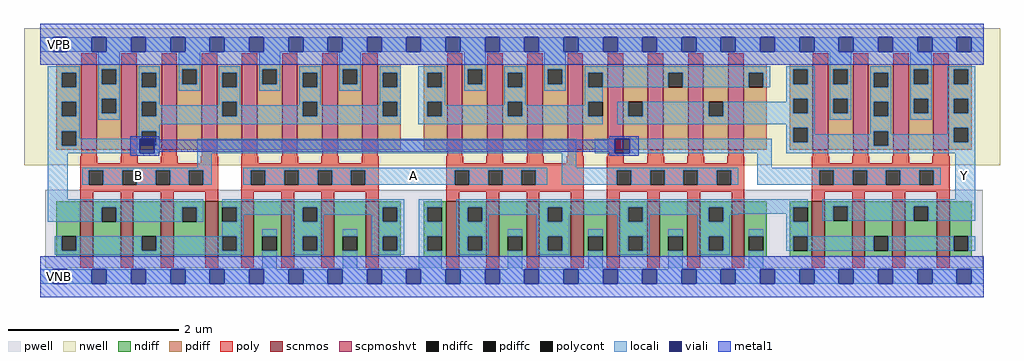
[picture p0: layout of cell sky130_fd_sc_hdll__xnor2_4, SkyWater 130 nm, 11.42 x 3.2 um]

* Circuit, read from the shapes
.subckt sky130_fd_sc_hdll__xnor2_4 A B VGND VNB VPB VPWR Y
XM1 n1 B n2 VNB sky130_fd_pr__nfet_01v8 w=0.65 l=0.15 m=4
XM2 VGND A n2 VNB sky130_fd_pr__nfet_01v8 w=0.65 l=0.15 m=4
XM3 n3 A VGND VNB sky130_fd_pr__nfet_01v8 w=0.65 l=0.15 m=4
XM4 n3 B VGND VNB sky130_fd_pr__nfet_01v8 w=0.65 l=0.15 m=4
XM5 Y n1 n3 VNB sky130_fd_pr__nfet_01v8 w=0.65 l=0.15 m=4
XM6 VPWR B n1 VPB sky130_fd_pr__pfet_01v8_hvt w=1 l=0.18 m=4
XM7 VPWR A n1 VPB sky130_fd_pr__pfet_01v8_hvt w=1 l=0.18 m=4
XM8 VPWR A n4 VPB sky130_fd_pr__pfet_01v8_hvt w=1 l=0.18 m=4
XM9 Y B n4 VPB sky130_fd_pr__pfet_01v8_hvt w=1 l=0.18 m=4
XM10 VPWR n1 Y VPB sky130_fd_pr__pfet_01v8_hvt w=1 l=0.18 m=4
.ends

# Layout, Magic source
magic
tech sky130A
magscale 1 2
<< nwell >>
rect -38 261 2246 582
<< pwell >>
rect 12 21 2206 203
rect 29 -17 63 21
<< scnmos >>
rect 94 47 124 177
rect 188 47 218 177
rect 282 47 312 177
rect 386 47 416 177
rect 470 47 500 177
rect 564 47 594 177
rect 658 47 688 177
rect 762 47 792 177
rect 950 47 980 177
rect 1044 47 1074 177
rect 1138 47 1168 177
rect 1242 47 1272 177
rect 1326 47 1356 177
rect 1420 47 1450 177
rect 1514 47 1544 177
rect 1618 47 1648 177
rect 1806 47 1836 177
rect 1900 47 1930 177
rect 1994 47 2024 177
rect 2098 47 2128 177
<< scpmoshvt >>
rect 96 297 132 497
rect 190 297 226 497
rect 284 297 320 497
rect 378 297 414 497
rect 472 297 508 497
rect 566 297 602 497
rect 660 297 696 497
rect 754 297 790 497
rect 952 297 988 497
rect 1046 297 1082 497
rect 1140 297 1176 497
rect 1234 297 1270 497
rect 1328 297 1364 497
rect 1422 297 1458 497
rect 1516 297 1552 497
rect 1610 297 1646 497
rect 1808 297 1844 497
rect 1902 297 1938 497
rect 1996 297 2032 497
rect 2090 297 2126 497
<< ndiff >>
rect 38 95 94 177
rect 38 61 50 95
rect 84 61 94 95
rect 38 47 94 61
rect 124 163 188 177
rect 124 129 144 163
rect 178 129 188 163
rect 124 47 188 129
rect 218 95 282 177
rect 218 61 238 95
rect 272 61 282 95
rect 218 47 282 61
rect 312 163 386 177
rect 312 129 332 163
rect 366 129 386 163
rect 312 47 386 129
rect 416 163 470 177
rect 416 129 426 163
rect 460 129 470 163
rect 416 95 470 129
rect 416 61 426 95
rect 460 61 470 95
rect 416 47 470 61
rect 500 95 564 177
rect 500 61 520 95
rect 554 61 564 95
rect 500 47 564 61
rect 594 163 658 177
rect 594 129 614 163
rect 648 129 658 163
rect 594 95 658 129
rect 594 61 614 95
rect 648 61 658 95
rect 594 47 658 61
rect 688 95 762 177
rect 688 61 708 95
rect 742 61 762 95
rect 688 47 762 61
rect 792 163 844 177
rect 792 129 802 163
rect 836 129 844 163
rect 792 95 844 129
rect 792 61 802 95
rect 836 61 844 95
rect 792 47 844 61
rect 898 163 950 177
rect 898 129 906 163
rect 940 129 950 163
rect 898 95 950 129
rect 898 61 906 95
rect 940 61 950 95
rect 898 47 950 61
rect 980 163 1044 177
rect 980 129 1000 163
rect 1034 129 1044 163
rect 980 95 1044 129
rect 980 61 1000 95
rect 1034 61 1044 95
rect 980 47 1044 61
rect 1074 95 1138 177
rect 1074 61 1094 95
rect 1128 61 1138 95
rect 1074 47 1138 61
rect 1168 163 1242 177
rect 1168 129 1188 163
rect 1222 129 1242 163
rect 1168 95 1242 129
rect 1168 61 1188 95
rect 1222 61 1242 95
rect 1168 47 1242 61
rect 1272 95 1326 177
rect 1272 61 1282 95
rect 1316 61 1326 95
rect 1272 47 1326 61
rect 1356 163 1420 177
rect 1356 129 1376 163
rect 1410 129 1420 163
rect 1356 95 1420 129
rect 1356 61 1376 95
rect 1410 61 1420 95
rect 1356 47 1420 61
rect 1450 95 1514 177
rect 1450 61 1470 95
rect 1504 61 1514 95
rect 1450 47 1514 61
rect 1544 163 1618 177
rect 1544 129 1564 163
rect 1598 129 1618 163
rect 1544 95 1618 129
rect 1544 61 1564 95
rect 1598 61 1618 95
rect 1544 47 1618 61
rect 1648 95 1700 177
rect 1648 61 1658 95
rect 1692 61 1700 95
rect 1648 47 1700 61
rect 1754 163 1806 177
rect 1754 129 1762 163
rect 1796 129 1806 163
rect 1754 95 1806 129
rect 1754 61 1762 95
rect 1796 61 1806 95
rect 1754 47 1806 61
rect 1836 165 1900 177
rect 1836 131 1856 165
rect 1890 131 1900 165
rect 1836 47 1900 131
rect 1930 95 1994 177
rect 1930 61 1950 95
rect 1984 61 1994 95
rect 1930 47 1994 61
rect 2024 165 2098 177
rect 2024 131 2044 165
rect 2078 131 2098 165
rect 2024 47 2098 131
rect 2128 95 2180 177
rect 2128 61 2138 95
rect 2172 61 2180 95
rect 2128 47 2180 61
<< pdiff >>
rect 38 477 96 497
rect 38 443 50 477
rect 84 443 96 477
rect 38 409 96 443
rect 38 375 50 409
rect 84 375 96 409
rect 38 341 96 375
rect 38 307 50 341
rect 84 307 96 341
rect 38 297 96 307
rect 132 485 190 497
rect 132 451 144 485
rect 178 451 190 485
rect 132 417 190 451
rect 132 383 144 417
rect 178 383 190 417
rect 132 297 190 383
rect 226 477 284 497
rect 226 443 238 477
rect 272 443 284 477
rect 226 409 284 443
rect 226 375 238 409
rect 272 375 284 409
rect 226 341 284 375
rect 226 307 238 341
rect 272 307 284 341
rect 226 297 284 307
rect 320 485 378 497
rect 320 451 332 485
rect 366 451 378 485
rect 320 297 378 451
rect 414 477 472 497
rect 414 443 426 477
rect 460 443 472 477
rect 414 409 472 443
rect 414 375 426 409
rect 460 375 472 409
rect 414 297 472 375
rect 508 485 566 497
rect 508 451 520 485
rect 554 451 566 485
rect 508 297 566 451
rect 602 477 660 497
rect 602 443 614 477
rect 648 443 660 477
rect 602 409 660 443
rect 602 375 614 409
rect 648 375 660 409
rect 602 297 660 375
rect 696 485 754 497
rect 696 451 708 485
rect 742 451 754 485
rect 696 297 754 451
rect 790 477 844 497
rect 790 443 802 477
rect 836 443 844 477
rect 790 409 844 443
rect 790 375 802 409
rect 836 375 844 409
rect 790 297 844 375
rect 898 477 952 497
rect 898 443 906 477
rect 940 443 952 477
rect 898 409 952 443
rect 898 375 906 409
rect 940 375 952 409
rect 898 297 952 375
rect 988 485 1046 497
rect 988 451 1000 485
rect 1034 451 1046 485
rect 988 297 1046 451
rect 1082 477 1140 497
rect 1082 443 1094 477
rect 1128 443 1140 477
rect 1082 409 1140 443
rect 1082 375 1094 409
rect 1128 375 1140 409
rect 1082 297 1140 375
rect 1176 485 1234 497
rect 1176 451 1188 485
rect 1222 451 1234 485
rect 1176 297 1234 451
rect 1270 477 1328 497
rect 1270 443 1282 477
rect 1316 443 1328 477
rect 1270 409 1328 443
rect 1270 375 1282 409
rect 1316 375 1328 409
rect 1270 297 1328 375
rect 1364 409 1422 497
rect 1364 375 1376 409
rect 1410 375 1422 409
rect 1364 297 1422 375
rect 1458 477 1516 497
rect 1458 443 1470 477
rect 1504 443 1516 477
rect 1458 297 1516 443
rect 1552 409 1610 497
rect 1552 375 1564 409
rect 1598 375 1610 409
rect 1552 297 1610 375
rect 1646 477 1700 497
rect 1646 443 1658 477
rect 1692 443 1700 477
rect 1646 297 1700 443
rect 1754 485 1808 497
rect 1754 451 1762 485
rect 1796 451 1808 485
rect 1754 417 1808 451
rect 1754 383 1762 417
rect 1796 383 1808 417
rect 1754 349 1808 383
rect 1754 315 1762 349
rect 1796 315 1808 349
rect 1754 297 1808 315
rect 1844 485 1902 497
rect 1844 451 1856 485
rect 1890 451 1902 485
rect 1844 417 1902 451
rect 1844 383 1856 417
rect 1890 383 1902 417
rect 1844 297 1902 383
rect 1938 477 1996 497
rect 1938 443 1950 477
rect 1984 443 1996 477
rect 1938 409 1996 443
rect 1938 375 1950 409
rect 1984 375 1996 409
rect 1938 341 1996 375
rect 1938 307 1950 341
rect 1984 307 1996 341
rect 1938 297 1996 307
rect 2032 485 2090 497
rect 2032 451 2044 485
rect 2078 451 2090 485
rect 2032 417 2090 451
rect 2032 383 2044 417
rect 2078 383 2090 417
rect 2032 297 2090 383
rect 2126 485 2180 497
rect 2126 451 2138 485
rect 2172 451 2180 485
rect 2126 417 2180 451
rect 2126 383 2138 417
rect 2172 383 2180 417
rect 2126 349 2180 383
rect 2126 315 2138 349
rect 2172 315 2180 349
rect 2126 297 2180 315
<< ndiffc >>
rect 50 61 84 95
rect 144 129 178 163
rect 238 61 272 95
rect 332 129 366 163
rect 426 129 460 163
rect 426 61 460 95
rect 520 61 554 95
rect 614 129 648 163
rect 614 61 648 95
rect 708 61 742 95
rect 802 129 836 163
rect 802 61 836 95
rect 906 129 940 163
rect 906 61 940 95
rect 1000 129 1034 163
rect 1000 61 1034 95
rect 1094 61 1128 95
rect 1188 129 1222 163
rect 1188 61 1222 95
rect 1282 61 1316 95
rect 1376 129 1410 163
rect 1376 61 1410 95
rect 1470 61 1504 95
rect 1564 129 1598 163
rect 1564 61 1598 95
rect 1658 61 1692 95
rect 1762 129 1796 163
rect 1762 61 1796 95
rect 1856 131 1890 165
rect 1950 61 1984 95
rect 2044 131 2078 165
rect 2138 61 2172 95
<< pdiffc >>
rect 50 443 84 477
rect 50 375 84 409
rect 50 307 84 341
rect 144 451 178 485
rect 144 383 178 417
rect 238 443 272 477
rect 238 375 272 409
rect 238 307 272 341
rect 332 451 366 485
rect 426 443 460 477
rect 426 375 460 409
rect 520 451 554 485
rect 614 443 648 477
rect 614 375 648 409
rect 708 451 742 485
rect 802 443 836 477
rect 802 375 836 409
rect 906 443 940 477
rect 906 375 940 409
rect 1000 451 1034 485
rect 1094 443 1128 477
rect 1094 375 1128 409
rect 1188 451 1222 485
rect 1282 443 1316 477
rect 1282 375 1316 409
rect 1376 375 1410 409
rect 1470 443 1504 477
rect 1564 375 1598 409
rect 1658 443 1692 477
rect 1762 451 1796 485
rect 1762 383 1796 417
rect 1762 315 1796 349
rect 1856 451 1890 485
rect 1856 383 1890 417
rect 1950 443 1984 477
rect 1950 375 1984 409
rect 1950 307 1984 341
rect 2044 451 2078 485
rect 2044 383 2078 417
rect 2138 451 2172 485
rect 2138 383 2172 417
rect 2138 315 2172 349
<< poly >>
rect 96 497 132 523
rect 190 497 226 523
rect 284 497 320 523
rect 378 497 414 523
rect 472 497 508 523
rect 566 497 602 523
rect 660 497 696 523
rect 754 497 790 523
rect 952 497 988 523
rect 1046 497 1082 523
rect 1140 497 1176 523
rect 1234 497 1270 523
rect 1328 497 1364 523
rect 1422 497 1458 523
rect 1516 497 1552 523
rect 1610 497 1646 523
rect 1808 497 1844 523
rect 1902 497 1938 523
rect 1996 497 2032 523
rect 2090 497 2126 523
rect 96 282 132 297
rect 190 282 226 297
rect 284 282 320 297
rect 378 282 414 297
rect 472 282 508 297
rect 566 282 602 297
rect 660 282 696 297
rect 754 282 790 297
rect 952 282 988 297
rect 1046 282 1082 297
rect 1140 282 1176 297
rect 1234 282 1270 297
rect 1328 282 1364 297
rect 1422 282 1458 297
rect 1516 282 1552 297
rect 1610 282 1646 297
rect 1808 282 1844 297
rect 1902 282 1938 297
rect 1996 282 2032 297
rect 2090 282 2126 297
rect 94 265 134 282
rect 188 265 228 282
rect 282 265 322 282
rect 376 265 416 282
rect 94 249 416 265
rect 94 215 114 249
rect 148 215 192 249
rect 226 215 270 249
rect 304 215 348 249
rect 382 215 416 249
rect 94 199 416 215
rect 94 177 124 199
rect 188 177 218 199
rect 282 177 312 199
rect 386 177 416 199
rect 470 265 510 282
rect 564 265 604 282
rect 658 265 698 282
rect 752 265 792 282
rect 470 249 792 265
rect 470 215 493 249
rect 527 215 571 249
rect 605 215 649 249
rect 683 215 727 249
rect 761 215 792 249
rect 470 199 792 215
rect 470 177 500 199
rect 564 177 594 199
rect 658 177 688 199
rect 762 177 792 199
rect 950 265 990 282
rect 1044 265 1084 282
rect 1138 265 1178 282
rect 1232 265 1272 282
rect 950 249 1272 265
rect 950 215 970 249
rect 1004 215 1048 249
rect 1082 215 1126 249
rect 1160 215 1272 249
rect 950 199 1272 215
rect 950 177 980 199
rect 1044 177 1074 199
rect 1138 177 1168 199
rect 1242 177 1272 199
rect 1326 265 1366 282
rect 1420 265 1460 282
rect 1514 265 1554 282
rect 1608 265 1648 282
rect 1326 249 1648 265
rect 1326 215 1349 249
rect 1383 215 1427 249
rect 1461 215 1505 249
rect 1539 215 1583 249
rect 1617 215 1648 249
rect 1326 199 1648 215
rect 1326 177 1356 199
rect 1420 177 1450 199
rect 1514 177 1544 199
rect 1618 177 1648 199
rect 1806 265 1846 282
rect 1900 265 1940 282
rect 1994 265 2034 282
rect 2088 265 2128 282
rect 1806 249 2128 265
rect 1806 215 1823 249
rect 1857 215 1901 249
rect 1935 215 1979 249
rect 2013 215 2057 249
rect 2091 215 2128 249
rect 1806 199 2128 215
rect 1806 177 1836 199
rect 1900 177 1930 199
rect 1994 177 2024 199
rect 2098 177 2128 199
rect 94 21 124 47
rect 188 21 218 47
rect 282 21 312 47
rect 386 21 416 47
rect 470 21 500 47
rect 564 21 594 47
rect 658 21 688 47
rect 762 21 792 47
rect 950 21 980 47
rect 1044 21 1074 47
rect 1138 21 1168 47
rect 1242 21 1272 47
rect 1326 21 1356 47
rect 1420 21 1450 47
rect 1514 21 1544 47
rect 1618 21 1648 47
rect 1806 21 1836 47
rect 1900 21 1930 47
rect 1994 21 2024 47
rect 2098 21 2128 47
<< polycont >>
rect 114 215 148 249
rect 192 215 226 249
rect 270 215 304 249
rect 348 215 382 249
rect 493 215 527 249
rect 571 215 605 249
rect 649 215 683 249
rect 727 215 761 249
rect 970 215 1004 249
rect 1048 215 1082 249
rect 1126 215 1160 249
rect 1349 215 1383 249
rect 1427 215 1461 249
rect 1505 215 1539 249
rect 1583 215 1617 249
rect 1823 215 1857 249
rect 1901 215 1935 249
rect 1979 215 2013 249
rect 2057 215 2091 249
<< locali >>
rect 0 527 29 561
rect 63 527 121 561
rect 155 527 213 561
rect 247 527 305 561
rect 339 527 397 561
rect 431 527 489 561
rect 523 527 581 561
rect 615 527 673 561
rect 707 527 765 561
rect 799 527 857 561
rect 891 527 949 561
rect 983 527 1041 561
rect 1075 527 1133 561
rect 1167 527 1225 561
rect 1259 527 1317 561
rect 1351 527 1409 561
rect 1443 527 1501 561
rect 1535 527 1593 561
rect 1627 527 1685 561
rect 1719 527 1777 561
rect 1811 527 1869 561
rect 1903 527 1961 561
rect 1995 527 2053 561
rect 2087 527 2145 561
rect 2179 527 2208 561
rect 17 477 92 493
rect 17 443 50 477
rect 84 443 92 477
rect 17 409 92 443
rect 17 375 50 409
rect 84 375 92 409
rect 17 341 92 375
rect 136 485 186 527
rect 136 451 144 485
rect 178 451 186 485
rect 136 417 186 451
rect 136 383 144 417
rect 178 383 186 417
rect 136 367 186 383
rect 230 477 280 493
rect 230 443 238 477
rect 272 443 280 477
rect 230 409 280 443
rect 324 485 374 527
rect 324 451 332 485
rect 366 451 374 485
rect 324 435 374 451
rect 418 477 468 493
rect 418 443 426 477
rect 460 443 468 477
rect 230 375 238 409
rect 272 401 280 409
rect 418 409 468 443
rect 512 485 562 527
rect 512 451 520 485
rect 554 451 562 485
rect 512 435 562 451
rect 606 477 656 493
rect 606 443 614 477
rect 648 443 656 477
rect 418 401 426 409
rect 272 375 426 401
rect 460 401 468 409
rect 606 409 656 443
rect 700 485 750 527
rect 700 451 708 485
rect 742 451 750 485
rect 700 435 750 451
rect 794 477 844 493
rect 794 443 802 477
rect 836 443 844 477
rect 606 401 614 409
rect 460 375 614 401
rect 648 401 656 409
rect 794 409 844 443
rect 794 401 802 409
rect 648 375 802 401
rect 836 375 844 409
rect 17 307 50 341
rect 84 323 92 341
rect 230 357 844 375
rect 885 477 948 493
rect 885 443 906 477
rect 940 443 948 477
rect 885 409 948 443
rect 992 485 1042 527
rect 992 451 1000 485
rect 1034 451 1042 485
rect 992 435 1042 451
rect 1086 477 1136 493
rect 1086 443 1094 477
rect 1128 443 1136 477
rect 885 375 906 409
rect 940 401 948 409
rect 1086 409 1136 443
rect 1180 485 1230 527
rect 1180 451 1188 485
rect 1222 451 1230 485
rect 1180 435 1230 451
rect 1274 477 1708 493
rect 1274 443 1282 477
rect 1316 443 1470 477
rect 1504 443 1658 477
rect 1692 443 1708 477
rect 1746 485 1812 493
rect 1746 451 1762 485
rect 1796 451 1812 485
rect 1086 401 1094 409
rect 940 375 1094 401
rect 1128 401 1136 409
rect 1274 409 1316 443
rect 1746 417 1812 451
rect 1746 409 1762 417
rect 1274 401 1282 409
rect 1128 375 1282 401
rect 885 357 1316 375
rect 1350 375 1376 409
rect 1410 375 1564 409
rect 1598 383 1762 409
rect 1796 383 1812 417
rect 1598 375 1812 383
rect 1350 357 1812 375
rect 1848 485 1898 527
rect 1848 451 1856 485
rect 1890 451 1898 485
rect 1848 417 1898 451
rect 1848 383 1856 417
rect 1890 383 1898 417
rect 1848 367 1898 383
rect 1942 477 1992 493
rect 1942 443 1950 477
rect 1984 443 1992 477
rect 1942 409 1992 443
rect 1942 375 1950 409
rect 1984 375 1992 409
rect 230 341 280 357
rect 230 323 238 341
rect 84 307 233 323
rect 272 307 280 341
rect 1746 349 1812 357
rect 17 289 233 307
rect 267 289 280 307
rect 367 289 1254 323
rect 1298 289 1345 323
rect 1379 289 1712 323
rect 1746 315 1762 349
rect 1796 333 1812 349
rect 1942 341 1992 375
rect 2036 485 2086 527
rect 2036 451 2044 485
rect 2078 451 2086 485
rect 2036 417 2086 451
rect 2036 383 2044 417
rect 2078 383 2086 417
rect 2036 367 2086 383
rect 2122 485 2188 493
rect 2122 451 2138 485
rect 2172 451 2188 485
rect 2122 417 2188 451
rect 2122 383 2138 417
rect 2172 383 2188 417
rect 1942 333 1950 341
rect 1796 315 1950 333
rect 1746 307 1950 315
rect 1984 333 1992 341
rect 2122 349 2188 383
rect 2122 333 2138 349
rect 1984 315 2138 333
rect 2172 315 2188 349
rect 1984 307 2188 315
rect 1746 289 2188 307
rect 17 181 64 289
rect 367 255 401 289
rect 1220 255 1254 289
rect 1678 255 1712 289
rect 98 249 401 255
rect 98 215 114 249
rect 148 215 192 249
rect 226 215 270 249
rect 304 215 348 249
rect 382 215 401 249
rect 475 249 1186 255
rect 475 215 493 249
rect 527 215 571 249
rect 605 215 649 249
rect 683 215 727 249
rect 761 215 970 249
rect 1004 215 1048 249
rect 1082 215 1126 249
rect 1160 215 1186 249
rect 1220 249 1634 255
rect 1220 215 1349 249
rect 1383 215 1427 249
rect 1461 215 1505 249
rect 1539 215 1583 249
rect 1617 215 1634 249
rect 1678 249 2107 255
rect 1678 215 1823 249
rect 1857 215 1901 249
rect 1935 215 1979 249
rect 2013 215 2057 249
rect 2091 215 2107 249
rect 2141 181 2188 289
rect 17 163 382 181
rect 17 129 144 163
rect 178 129 332 163
rect 366 129 382 163
rect 426 163 852 181
rect 460 145 614 163
rect 460 129 476 145
rect 426 95 476 129
rect 588 129 614 145
rect 648 145 802 163
rect 648 129 664 145
rect 34 61 50 95
rect 84 61 238 95
rect 272 61 426 95
rect 460 61 476 95
rect 34 51 476 61
rect 520 95 554 111
rect 520 17 554 61
rect 588 95 664 129
rect 776 129 802 145
rect 836 129 852 163
rect 588 61 614 95
rect 648 61 664 95
rect 588 51 664 61
rect 708 95 742 111
rect 708 17 742 61
rect 776 95 852 129
rect 776 61 802 95
rect 836 61 852 95
rect 776 51 852 61
rect 886 163 940 181
rect 886 129 906 163
rect 886 95 940 129
rect 886 61 906 95
rect 886 17 940 61
rect 974 163 1796 181
rect 974 129 1000 163
rect 1034 145 1188 163
rect 1034 129 1050 145
rect 974 95 1050 129
rect 1162 129 1188 145
rect 1222 145 1376 163
rect 1222 129 1238 145
rect 974 61 1000 95
rect 1034 61 1050 95
rect 974 51 1050 61
rect 1094 95 1128 111
rect 1094 17 1128 61
rect 1162 95 1238 129
rect 1350 129 1376 145
rect 1410 145 1564 163
rect 1410 129 1426 145
rect 1162 61 1188 95
rect 1222 61 1238 95
rect 1162 51 1238 61
rect 1282 95 1316 111
rect 1282 17 1316 61
rect 1350 95 1426 129
rect 1538 129 1564 145
rect 1598 147 1762 163
rect 1598 145 1634 147
rect 1598 129 1614 145
rect 1350 61 1376 95
rect 1410 61 1426 95
rect 1350 51 1426 61
rect 1470 95 1504 111
rect 1470 17 1504 61
rect 1538 95 1614 129
rect 1746 129 1762 147
rect 1830 165 2188 181
rect 1830 131 1856 165
rect 1890 131 2044 165
rect 2078 131 2188 165
rect 1538 61 1564 95
rect 1598 61 1614 95
rect 1538 51 1614 61
rect 1658 95 1692 111
rect 1746 95 1796 129
rect 1746 61 1762 95
rect 1796 61 1950 95
rect 1984 61 2138 95
rect 2172 61 2188 95
rect 1658 17 1692 61
rect 0 -17 29 17
rect 63 -17 121 17
rect 155 -17 213 17
rect 247 -17 305 17
rect 339 -17 397 17
rect 431 -17 489 17
rect 523 -17 581 17
rect 615 -17 673 17
rect 707 -17 765 17
rect 799 -17 857 17
rect 891 -17 949 17
rect 983 -17 1041 17
rect 1075 -17 1133 17
rect 1167 -17 1225 17
rect 1259 -17 1317 17
rect 1351 -17 1409 17
rect 1443 -17 1501 17
rect 1535 -17 1593 17
rect 1627 -17 1685 17
rect 1719 -17 1777 17
rect 1811 -17 1869 17
rect 1903 -17 1961 17
rect 1995 -17 2053 17
rect 2087 -17 2145 17
rect 2179 -17 2208 17
<< viali >>
rect 29 527 63 561
rect 121 527 155 561
rect 213 527 247 561
rect 305 527 339 561
rect 397 527 431 561
rect 489 527 523 561
rect 581 527 615 561
rect 673 527 707 561
rect 765 527 799 561
rect 857 527 891 561
rect 949 527 983 561
rect 1041 527 1075 561
rect 1133 527 1167 561
rect 1225 527 1259 561
rect 1317 527 1351 561
rect 1409 527 1443 561
rect 1501 527 1535 561
rect 1593 527 1627 561
rect 1685 527 1719 561
rect 1777 527 1811 561
rect 1869 527 1903 561
rect 1961 527 1995 561
rect 2053 527 2087 561
rect 2145 527 2179 561
rect 233 307 238 323
rect 238 307 267 323
rect 233 289 267 307
rect 1345 289 1379 323
rect 29 -17 63 17
rect 121 -17 155 17
rect 213 -17 247 17
rect 305 -17 339 17
rect 397 -17 431 17
rect 489 -17 523 17
rect 581 -17 615 17
rect 673 -17 707 17
rect 765 -17 799 17
rect 857 -17 891 17
rect 949 -17 983 17
rect 1041 -17 1075 17
rect 1133 -17 1167 17
rect 1225 -17 1259 17
rect 1317 -17 1351 17
rect 1409 -17 1443 17
rect 1501 -17 1535 17
rect 1593 -17 1627 17
rect 1685 -17 1719 17
rect 1777 -17 1811 17
rect 1869 -17 1903 17
rect 1961 -17 1995 17
rect 2053 -17 2087 17
rect 2145 -17 2179 17
<< metal1 >>
rect 0 561 2208 592
rect 0 527 29 561
rect 63 527 121 561
rect 155 527 213 561
rect 247 527 305 561
rect 339 527 397 561
rect 431 527 489 561
rect 523 527 581 561
rect 615 527 673 561
rect 707 527 765 561
rect 799 527 857 561
rect 891 527 949 561
rect 983 527 1041 561
rect 1075 527 1133 561
rect 1167 527 1225 561
rect 1259 527 1317 561
rect 1351 527 1409 561
rect 1443 527 1501 561
rect 1535 527 1593 561
rect 1627 527 1685 561
rect 1719 527 1777 561
rect 1811 527 1869 561
rect 1903 527 1961 561
rect 1995 527 2053 561
rect 2087 527 2145 561
rect 2179 527 2208 561
rect 0 496 2208 527
rect 211 323 279 329
rect 211 289 233 323
rect 267 320 279 323
rect 1331 323 1401 329
rect 1331 320 1345 323
rect 267 292 1345 320
rect 267 289 279 292
rect 211 283 279 289
rect 1331 289 1345 292
rect 1379 289 1401 323
rect 1331 283 1401 289
rect 0 17 2208 48
rect 0 -17 29 17
rect 63 -17 121 17
rect 155 -17 213 17
rect 247 -17 305 17
rect 339 -17 397 17
rect 431 -17 489 17
rect 523 -17 581 17
rect 615 -17 673 17
rect 707 -17 765 17
rect 799 -17 857 17
rect 891 -17 949 17
rect 983 -17 1041 17
rect 1075 -17 1133 17
rect 1167 -17 1225 17
rect 1259 -17 1317 17
rect 1351 -17 1409 17
rect 1443 -17 1501 17
rect 1535 -17 1593 17
rect 1627 -17 1685 17
rect 1719 -17 1777 17
rect 1811 -17 1869 17
rect 1903 -17 1961 17
rect 1995 -17 2053 17
rect 2087 -17 2145 17
rect 2179 -17 2208 17
rect 0 -48 2208 -17
<< labels >>
flabel locali s 2145 221 2179 255 0 FreeSans 400 0 0 0 Y
port 7 nsew signal output
flabel locali s 214 221 248 255 0 FreeSans 400 0 0 0 B
port 2 nsew signal input
flabel locali s 857 221 891 255 0 FreeSans 400 0 0 0 A
port 1 nsew signal input
flabel pwell s 29 -17 63 17 0 FreeSans 200 0 0 0 VNB
port 4 nsew ground bidirectional
flabel nwell s 29 527 63 561 0 FreeSans 200 0 0 0 VPB
port 5 nsew power bidirectional
flabel metal1 s 29 -17 63 17 0 FreeSans 200 0 0 0 VGND
port 3 nsew ground bidirectional
flabel metal1 s 29 527 63 561 0 FreeSans 200 0 0 0 VPWR
port 6 nsew power bidirectional
rlabel comment s 0 0 0 0 4 xnor2_4
<< properties >>
string LEFsite unithd
string LEFclass CORE
string FIXED_BBOX 0 0 2208 544
string GDS_FILE $PDKPATH/libs.ref/sky130_fd_sc_hdll/gds/sky130_fd_sc_hdll.gds
string LEFsymmetry X Y R90
string GDS_END 2959690
string GDS_START 2944722
string LEFproperties maskLayoutSubType "abstract" prCellType "standard" originalViewName "layout"
<< end >>
